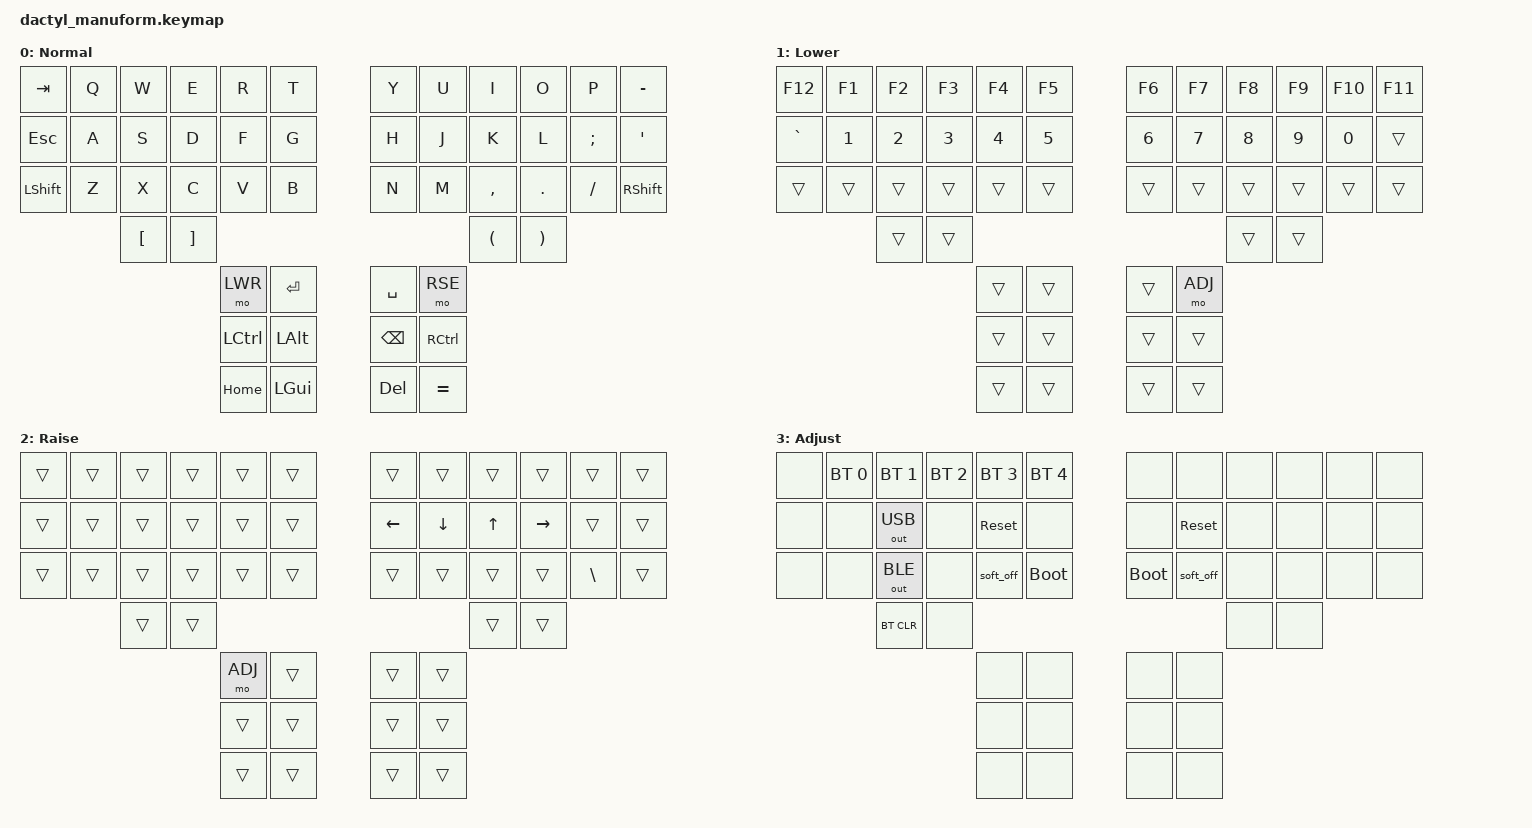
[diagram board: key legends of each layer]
#include <behaviors.dtsi>
#include <dt-bindings/zmk/keys.h>
#include <dt-bindings/zmk/bt.h>
#include <dt-bindings/zmk/outputs.h>
#include <dt-bindings/zmk/rgb.h>

#define DEFAULT 0
#define LWR 1
#define RSE 2
#define ADJ 3

/ {
	keymap {
	        compatible = "zmk,keymap";

		default_layer {
		    display-name = "Normal";
                    bindings = <
                        &kp TAB   &kp Q &kp W    &kp E    &kp R     &kp T               &kp Y     &kp U    &kp I     &kp O    &kp P    &kp MINUS
                        &kp ESC   &kp A &kp S    &kp D    &kp F     &kp G               &kp H     &kp J    &kp K     &kp L    &kp SEMI &kp SQT
                        &kp LSHFT &kp Z &kp X    &kp C    &kp V     &kp B               &kp N     &kp M    &kp COMMA &kp DOT  &kp FSLH &kp RSHFT
                                        &kp LBKT &kp RBKT                                                  &kp LPAR  &kp RPAR
                                                          &mo LWR   &kp RET             &kp SPACE &mo RSE
                                                          &kp LCTRL &kp LALT            &kp BSPC  &kp RCTRL
                                                          &kp HOME  &kp LGUI            &kp DEL   &kp EQUAL
                    >;
                };

                lower_layer {
                    display-name = "Lower";
                    bindings = <
                        &kp F12   &kp F1 &kp F2 &kp F3 &kp F4 &kp F5          &kp F6 &kp F7  &kp F8 &kp F9 &kp F10 &kp F11
                        &kp GRAVE &kp N1 &kp N2 &kp N3 &kp N4 &kp N5          &kp N6 &kp N7  &kp N8 &kp N9 &kp N0  &trans
                        &trans    &trans &trans &trans &trans &trans          &trans &trans  &trans &trans &trans  &trans
                                         &trans &trans                                       &trans &trans
                                                       &trans &trans          &trans &mo ADJ
                                                       &trans &trans          &trans &trans
                                                       &trans &trans          &trans &trans
                    >;
                };

                raise_layer {
                    display-name = "Raise";
                    bindings = <
                        &trans &trans &trans &trans &trans  &trans          &trans   &trans   &trans &trans    &trans   &trans
                        &trans &trans &trans &trans &trans  &trans          &kp LEFT &kp DOWN &kp UP &kp RIGHT &trans   &trans
                        &trans &trans &trans &trans &trans  &trans          &trans   &trans   &trans &trans    &kp BSLH &trans
                                      &trans &trans                                           &trans &trans
                                                    &mo ADJ &trans          &trans &trans
                                                    &trans  &trans          &trans &trans
                                                    &trans  &trans          &trans &trans
                    >;
                };

                adjust_layer {
                    display-name = "Adjust";
                    bindings = <
                        &none &bt BT_SEL 0 &bt BT_SEL 1 &bt BT_SEL 2 &bt BT_SEL 3 &bt BT_SEL 4         &none       &none      &none &none &none &none
                        &none &none        &out OUT_USB &none        &sys_reset   &none                &none       &sys_reset &none &none &none &none
                        &none &none        &out OUT_BLE &none        &soft_off    &bootloader          &bootloader &soft_off  &none &none &none &none
                                           &bt BT_CLR   &none                                                                 &none &none
                                                                     &none        &none                &none       &none
                                                                     &none        &none                &none       &none
                                                                     &none        &none                &none       &none
                    >;
                };
	};
};
